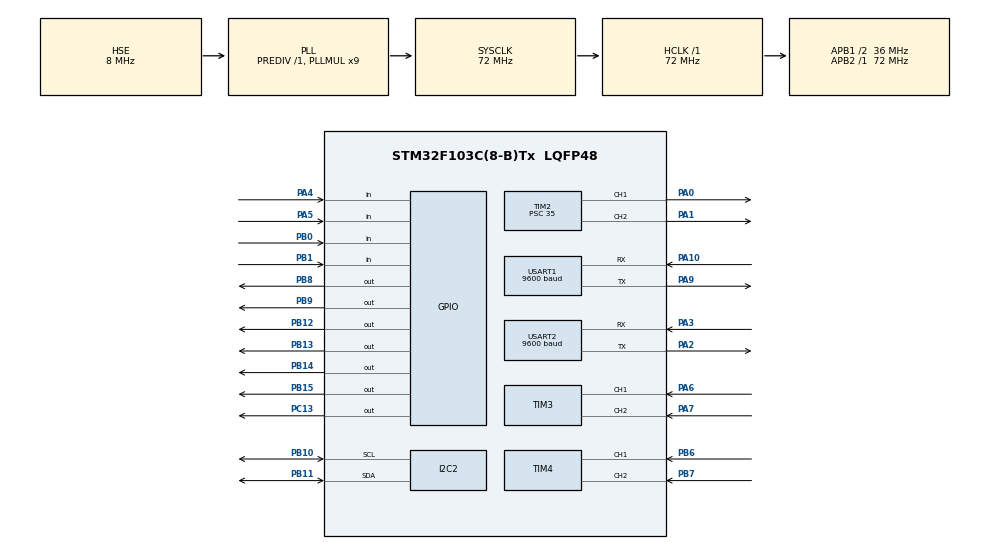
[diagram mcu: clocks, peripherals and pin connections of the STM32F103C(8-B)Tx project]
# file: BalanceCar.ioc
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Dma.I2C2_RX.0.Direction=DMA_PERIPH_TO_MEMORY
Dma.I2C2_RX.0.Instance=DMA1_Channel5
Dma.I2C2_RX.0.MemDataAlignment=DMA_MDATAALIGN_BYTE
Dma.I2C2_RX.0.MemInc=DMA_MINC_ENABLE
Dma.I2C2_RX.0.Mode=DMA_NORMAL
Dma.I2C2_RX.0.PeriphDataAlignment=DMA_PDATAALIGN_BYTE
Dma.I2C2_RX.0.PeriphInc=DMA_PINC_DISABLE
Dma.I2C2_RX.0.Priority=DMA_PRIORITY_LOW
Dma.Request0=I2C2_RX
I2C2.I2C_Mode=I2C_Fast
Mcu.Family=STM32F1
Mcu.Name=STM32F103C(8-B)Tx
Mcu.Package=LQFP48
NVIC.DMA1_Channel5_IRQn=true\:0\:0\:false\:false\:true\:false\:true\:true
NVIC.I2C2_ER_IRQn=true\:0\:0\:false\:false\:true\:true\:true\:true
NVIC.I2C2_EV_IRQn=true\:0\:0\:false\:false\:true\:true\:true\:true
NVIC.PriorityGroup=NVIC_PRIORITYGROUP_4
NVIC.TIM1_UP_IRQn=true\:1\:0\:true\:false\:true\:true\:true\:true
NVIC.USART1_IRQn=true\:3\:0\:true\:false\:true\:true\:true\:true
NVIC.USART2_IRQn=true\:3\:0\:true\:false\:true\:true\:true\:true
PA0-WKUP.Signal=S_TIM2_CH1_ETR
PA1.Signal=S_TIM2_CH2
PA10.Mode=Asynchronous
PA10.Signal=USART1_RX
PA2.Mode=Asynchronous
PA2.Signal=USART2_TX
PA3.Mode=Asynchronous
PA3.Signal=USART2_RX
PA4.GPIO_PuPd=GPIO_PULLUP
PA4.Signal=GPIO_Input
PA5.GPIO_PuPd=GPIO_PULLUP
PA5.Signal=GPIO_Input
PA6.Signal=S_TIM3_CH1
PA7.Signal=S_TIM3_CH2
PA9.Mode=Asynchronous
PA9.Signal=USART1_TX
PB0.GPIO_PuPd=GPIO_PULLUP
PB0.Signal=GPIO_Input
PB1.GPIO_PuPd=GPIO_PULLUP
PB1.Signal=GPIO_Input
PB10.Mode=I2C
PB10.Signal=I2C2_SCL
PB11.Mode=I2C
PB11.Signal=I2C2_SDA
PB12.GPIO_Speed=GPIO_SPEED_FREQ_HIGH
PB12.Signal=GPIO_Output
PB13.GPIO_Speed=GPIO_SPEED_FREQ_HIGH
PB13.Signal=GPIO_Output
PB14.GPIO_Speed=GPIO_SPEED_FREQ_HIGH
PB14.Signal=GPIO_Output
PB15.GPIO_Speed=GPIO_SPEED_FREQ_HIGH
PB15.Signal=GPIO_Output
PB6.Signal=S_TIM4_CH1
PB7.Signal=S_TIM4_CH2
PB8.GPIO_ModeDefaultOutputPP=GPIO_MODE_OUTPUT_OD
PB8.GPIO_PuPd=GPIO_NOPULL
PB8.GPIO_Speed=GPIO_SPEED_FREQ_HIGH
PB8.Signal=GPIO_Output
PB9.GPIO_ModeDefaultOutputPP=GPIO_MODE_OUTPUT_OD
PB9.GPIO_PuPd=GPIO_NOPULL
PB9.GPIO_Speed=GPIO_SPEED_FREQ_HIGH
PB9.Signal=GPIO_Output
PC13-TAMPER-RTC.GPIO_Speed=GPIO_SPEED_FREQ_HIGH
PC13-TAMPER-RTC.Signal=GPIO_Output
PD0-OSC_IN.Mode=HSE-External-Oscillator
PD0-OSC_IN.Signal=RCC_OSC_IN
PD1-OSC_OUT.Mode=HSE-External-Oscillator
PD1-OSC_OUT.Signal=RCC_OSC_OUT
ProjectManager.HeapSize=0x200
ProjectManager.StackSize=0x400
ProjectManager.TargetToolchain=CMake
RCC.AHBFreq_Value=72000000
RCC.APB1CLKDivider=RCC_HCLK_DIV2
RCC.APB1Freq_Value=36000000
RCC.APB1TimFreq_Value=72000000
RCC.APB2Freq_Value=72000000
RCC.APB2TimFreq_Value=72000000
RCC.HCLKFreq_Value=72000000
RCC.PLLMUL=RCC_PLL_MUL9
RCC.PLLSourceVirtual=RCC_PLLSOURCE_HSE
RCC.SYSCLKFreq_VALUE=72000000
RCC.SYSCLKSource=RCC_SYSCLKSOURCE_PLLCLK
RCC.USBFreq_Value=72000000
SH.S_TIM2_CH1_ETR.0=TIM2_CH1,PWM Generation1 CH1
SH.S_TIM2_CH2.0=TIM2_CH2,PWM Generation2 CH2
SH.S_TIM3_CH1.0=TIM3_CH1,Encoder_Interface
SH.S_TIM3_CH2.0=TIM3_CH2,Encoder_Interface
SH.S_TIM4_CH1.0=TIM4_CH1,Encoder_Interface
SH.S_TIM4_CH2.0=TIM4_CH2,Encoder_Interface
TIM1.AutoReloadPreload=TIM_AUTORELOAD_PRELOAD_ENABLE
TIM1.Period=999
TIM1.Prescaler=71
TIM2.Channel-PWM\ Generation1\ CH1=TIM_CHANNEL_1
TIM2.Channel-PWM\ Generation2\ CH2=TIM_CHANNEL_2
TIM2.Period=99
TIM2.Prescaler=35
TIM3.EncoderMode=TIM_ENCODERMODE_TI12
TIM3.IC1Filter=15
TIM3.IC2Filter=15
TIM4.EncoderMode=TIM_ENCODERMODE_TI12
TIM4.IC1Filter=15
TIM4.IC2Filter=15
TIM4.IC2Polarity=TIM_ICPOLARITY_FALLING
USART1.BaudRate=9600
USART1.VirtualMode=VM_ASYNC
USART2.BaudRate=9600
USART2.VirtualMode=VM_ASYNC
VP_SYS_VS_ND.Mode=No_Debug
VP_TIM1_VS_ClockSourceINT.Mode=Internal
VP_TIM2_VS_ClockSourceINT.Mode=Internal
board=custom

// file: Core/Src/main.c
/* USER CODE BEGIN Header */
/**
  ******************************************************************************
  * @file           : main.c
  * @brief          : Main program body
  ******************************************************************************
  * @attention
  *
  * Copyright (c) 2026 STMicroelectronics.
  * All rights reserved.
  *
  * This software is licensed under terms that can be found in the LICENSE file
  * in the root directory of this software component.
  * If no LICENSE file comes with this software, it is provided AS-IS.
  *
  ******************************************************************************
  */
/* USER CODE END Header */
#include "main.h"

/* USER CODE BEGIN Includes */
#include "HardWare/LED.h"
#include "HardWare/OLED.h"
#include "HardWare/OLED_Data.h"
#include "HardWare/Key.h"
#include "HardWare/MPU6050.h"
#include "HardWare/Encoder.h"
#include "HardWare/Motor.h"
#include "HardWare/Serial.h"
#include "HardWare/BlueSerial.h"
#include "Algorithm/ComplementaryFilter.h"
#include "Algorithm/PID.h"
#include "string.h"
#include <stdlib.h>

extern uint8_t serial_rx_data;
extern uint8_t serial_rx_flag;
extern char BlueSerial_RxPacket[100];
extern uint8_t BlueSerial_RxFlag;
extern uint8_t blue_rx_byte;
/* USER CODE END Includes */

I2C_HandleTypeDef hi2c2;
DMA_HandleTypeDef hdma_i2c2_rx;

TIM_HandleTypeDef htim1;
TIM_HandleTypeDef htim2;
TIM_HandleTypeDef htim3;
TIM_HandleTypeDef htim4;

UART_HandleTypeDef huart1;
UART_HandleTypeDef huart2;

/* USER CODE BEGIN PV */
int16_t ax, ay, az, gx, gy, gz;
uint8_t timer_error_flag;
uint16_t timer_count;
int8_t PWML, PWMR;

float SpeedL, SpeedR;

uint16_t Count;

float angle_acc;
float angle_gyro;
float angle;
float alpha = 0.99;

uint8_t run_flag = 0;

int16_t left_pwm, right_pwm;
float left_speed, right_speed;
int16_t ave_pwm, diff_pwm;
float ave_speed, diff_speed;

float position = 0;  // 单位：轮子转数或cm
float hold_position = 0;
uint8_t position_hold = 0;

typedef enum { MODE_CONTROL = 0, MODE_HOLD } CarMode_t;
CarMode_t car_mode = MODE_HOLD;
float smooth_target = 0.0f;

PID_t angle_pid ={
  .kp_ = 4,
  .ki_ = 0.1,
  .kd_ = 4,

  .output_max_ =  100,
  .output_min_ = -100,

  .out_offset_ = 3
};

PID_t speed_pid ={
  .kp_ = 2.5,
  .ki_ = 0.05,
  .kd_ = 0,

  .output_max_ =  10,
  .output_min_ = -10,
};

PID_t turn_pid ={
  .kp_ = 4,
  .ki_ = 3,
  .kd_ = 0,

  .output_max_ =  50,
  .output_min_ = -50,
};

PID_t position_pid = {
  .kp_ = 13,
  .ki_ = 0.4,
  .kd_ = 80,
  .output_max_ =  20,
  .output_min_ = -20,
};

/* USER CODE END PV */

void SystemClock_Config(void);
static void MX_GPIO_Init(void);
static void MX_DMA_Init(void);
static void MX_TIM1_Init(void);
static void MX_I2C2_Init(void);
static void MX_TIM3_Init(void);
static void MX_TIM4_Init(void);
static void MX_TIM2_Init(void);
static void MX_USART1_UART_Init(void);
static void MX_USART2_UART_Init(void);

int main(void)
{

  /* MCU Configuration--------------------------------------------------------*/

  /* Reset of all peripherals, Initializes the Flash interface and the Systick. */
  HAL_Init();

  /* Configure the system clock */
  SystemClock_Config();

  /* Initialize all configured peripherals */
  MX_GPIO_Init();
  MX_DMA_Init();
  MX_TIM1_Init();
  MX_I2C2_Init();
  MX_TIM3_Init();
  MX_TIM4_Init();
  MX_TIM2_Init();
  MX_USART1_UART_Init();
  MX_USART2_UART_Init();
  /* USER CODE BEGIN 2 */
  HAL_TIM_PWM_Start(&htim2, TIM_CHANNEL_1);
  HAL_TIM_PWM_Start(&htim2, TIM_CHANNEL_2);
  encoder_init();
  MPU6050_init();
  OLED_Init();
  HAL_TIM_Base_Start_IT(&htim1);
  HAL_UART_Receive_IT(&huart1, &serial_rx_data, 1);
  HAL_UART_Receive_IT(&huart2, &blue_rx_byte, 1);

  uint8_t KeyNum, Num;

  /* USER CODE END 2 */

  /* Infinite loop */
  /* USER CODE BEGIN WHILE */
  blue_serial_send_str("hello");
  blue_serial_printf("world");
  led_off();

  while (1) {
    /* USER CODE END WHILE */

    KeyNum = key_get_num();

    if (KeyNum == 1)
    {
      if (run_flag == 0)
      {
        PID_init(&angle_pid);
        PID_init(&speed_pid);
        PID_init(&turn_pid);
        PID_init(&position_pid);
        run_flag = 1;
        led_on();
      }
      else
      {
        run_flag = 0;
        led_off();
      }
    }

    if (KeyNum == 2)
    {
      if (car_mode == MODE_CONTROL)
      {
        car_mode = MODE_HOLD;
        hold_position = position;
        position_pid.target_ = position;
        position_pid.i_output_ = 0;
      }
      else
      {
        car_mode = MODE_CONTROL;
        speed_pid.i_output_ = 0;
      }
    }

    int pkp_int  = (int)position_pid.kp_;
    int pkp_frac = (int)((position_pid.kp_ - pkp_int) * 100);
    int pki_int  = (int)position_pid.ki_;
    int pki_frac = (int)((position_pid.ki_ - pki_int) * 100);
    int pkd_int  = (int)position_pid.kd_;
    int pkd_frac = (int)((position_pid.kd_ - pkd_int) * 100);
    int pos_int  = (int)position;
    int pos_frac = (int)((position - pos_int) * 100);
    if (pos_frac < 0) pos_frac = -pos_frac;
    int hpos_int  = (int)hold_position;
    int hpos_frac = (int)((hold_position - hpos_int) * 100);
    if (hpos_frac < 0) hpos_frac = -hpos_frac;

    int a_int  = (int)angle;
    int a_frac = (int)((angle - a_int) * 100);
    if (a_frac < 0) a_frac = -a_frac;

    OLED_Clear();
    OLED_Printf(0, 0,  OLED_6X8, "  Pos PID");
    OLED_Printf(0, 8,  OLED_6X8, "P:%d.%02d", pkp_int, pkp_frac);
    OLED_Printf(0, 16, OLED_6X8, "I:%d.%02d", pki_int, pki_frac);
    OLED_Printf(0, 24, OLED_6X8, "D:%d.%02d", pkd_int, pkd_frac);
    OLED_Printf(0, 32, OLED_6X8, "Pos:%+d.%02d", pos_int, pos_frac);
    OLED_Printf(0, 40, OLED_6X8, "Hld:%+d.%02d", hpos_int, hpos_frac);
    OLED_Printf(0, 48, OLED_6X8, car_mode == MODE_CONTROL ? "MODE:CTL " : "MODE:HOLD");
    OLED_Printf(0, 56, OLED_6X8, "A:%+d.%02d", a_int, a_frac);
    OLED_Update();

    if (BlueSerial_RxFlag == 1)
    {
      char *tag = strtok(BlueSerial_RxPacket, ",");
      if (strcmp(tag, "joystick") == 0)
      {
        int8_t lh = atoi(strtok(NULL, ","));
        int8_t lv = atoi(strtok(NULL, ","));
        int8_t rh = atoi(strtok(NULL, ","));
        int8_t rv = atoi(strtok(NULL, ","));

        float lv_f = lv / 25.0f;
        float rh_f = rh / 25.0f;

        turn_pid.target_  = rh / 25.0f;

        // 低通滤波，松开摇杆时平滑过渡到0喵
        speed_pid.target_ = speed_pid.target_ * 0.2f + lv_f * 0.8f;
      }
      else if (strcmp(tag, "slider") == 0)
      {
        char *name  = strtok(NULL, ",");
        char *value = strtok(NULL, ",");
        if      (strcmp(name, "PosKp") == 0) position_pid.kp_ = atof(value);
        else if (strcmp(name, "PosKi") == 0) position_pid.ki_ = atof(value);
        else if (strcmp(name, "PosKd") == 0) position_pid.kd_ = atof(value);
      }
      BlueSerial_RxFlag = 0;
    }

  }
}

void SystemClock_Config(void)
{
  RCC_OscInitTypeDef RCC_OscInitStruct = {0};
  RCC_ClkInitTypeDef RCC_ClkInitStruct = {0};

  /** Initializes the RCC Oscillators according to the specified parameters
  * in the RCC_OscInitTypeDef structure.
  */
  RCC_OscInitStruct.OscillatorType = RCC_OSCILLATORTYPE_HSE;
  RCC_OscInitStruct.HSEState = RCC_HSE_ON;
  RCC_OscInitStruct.HSEPredivValue = RCC_HSE_PREDIV_DIV1;
  RCC_OscInitStruct.HSIState = RCC_HSI_ON;
  RCC_OscInitStruct.PLL.PLLState = RCC_PLL_ON;
  RCC_OscInitStruct.PLL.PLLSource = RCC_PLLSOURCE_HSE;
  RCC_OscInitStruct.PLL.PLLMUL = RCC_PLL_MUL9;
  if (HAL_RCC_OscConfig(&RCC_OscInitStruct) != HAL_OK)
  {
    Error_Handler();
  }

  /** Initializes the CPU, AHB and APB buses clocks
  */
  RCC_ClkInitStruct.ClockType = RCC_CLOCKTYPE_HCLK|RCC_CLOCKTYPE_SYSCLK
                              |RCC_CLOCKTYPE_PCLK1|RCC_CLOCKTYPE_PCLK2;
  RCC_ClkInitStruct.SYSCLKSource = RCC_SYSCLKSOURCE_PLLCLK;
  RCC_ClkInitStruct.AHBCLKDivider = RCC_SYSCLK_DIV1;
  RCC_ClkInitStruct.APB1CLKDivider = RCC_HCLK_DIV2;
  RCC_ClkInitStruct.APB2CLKDivider = RCC_HCLK_DIV1;

  if (HAL_RCC_ClockConfig(&RCC_ClkInitStruct, FLASH_LATENCY_2) != HAL_OK)
  {
    Error_Handler();
  }
}

static void MX_I2C2_Init(void)
{

  hi2c2.Instance = I2C2;
  hi2c2.Init.ClockSpeed = 400000;
  hi2c2.Init.DutyCycle = I2C_DUTYCYCLE_2;
  hi2c2.Init.OwnAddress1 = 0;
  hi2c2.Init.AddressingMode = I2C_ADDRESSINGMODE_7BIT;
  hi2c2.Init.DualAddressMode = I2C_DUALADDRESS_DISABLE;
  hi2c2.Init.OwnAddress2 = 0;
  hi2c2.Init.GeneralCallMode = I2C_GENERALCALL_DISABLE;
  hi2c2.Init.NoStretchMode = I2C_NOSTRETCH_DISABLE;
  if (HAL_I2C_Init(&hi2c2) != HAL_OK)
  {
    Error_Handler();
  }

}

static void MX_TIM1_Init(void)
{

  TIM_ClockConfigTypeDef sClockSourceConfig = {0};
  TIM_MasterConfigTypeDef sMasterConfig = {0};

  htim1.Instance = TIM1;
  htim1.Init.Prescaler = 71;
  htim1.Init.CounterMode = TIM_COUNTERMODE_UP;
  htim1.Init.Period = 999;
  htim1.Init.ClockDivision = TIM_CLOCKDIVISION_DIV1;
  htim1.Init.RepetitionCounter = 0;
  htim1.Init.AutoReloadPreload = TIM_AUTORELOAD_PRELOAD_ENABLE;
  if (HAL_TIM_Base_Init(&htim1) != HAL_OK)
  {
    Error_Handler();
  }
  sClockSourceConfig.ClockSource = TIM_CLOCKSOURCE_INTERNAL;
  if (HAL_TIM_ConfigClockSource(&htim1, &sClockSourceConfig) != HAL_OK)
  {
    Error_Handler();
  }
  sMasterConfig.MasterOutputTrigger = TIM_TRGO_RESET;
  sMasterConfig.MasterSlaveMode = TIM_MASTERSLAVEMODE_DISABLE;
  if (HAL_TIMEx_MasterConfigSynchronization(&htim1, &sMasterConfig) != HAL_OK)
  {
    Error_Handler();
  }

}

static void MX_TIM2_Init(void)
{

  TIM_ClockConfigTypeDef sClockSourceConfig = {0};
  TIM_MasterConfigTypeDef sMasterConfig = {0};
  TIM_OC_InitTypeDef sConfigOC = {0};

  htim2.Instance = TIM2;
  htim2.Init.Prescaler = 35;
  htim2.Init.CounterMode = TIM_COUNTERMODE_UP;
  htim2.Init.Period = 99;
  htim2.Init.ClockDivision = TIM_CLOCKDIVISION_DIV1;
  htim2.Init.AutoReloadPreload = TIM_AUTORELOAD_PRELOAD_DISABLE;
  if (HAL_TIM_Base_Init(&htim2) != HAL_OK)
  {
    Error_Handler();
  }
  sClockSourceConfig.ClockSource = TIM_CLOCKSOURCE_INTERNAL;
  if (HAL_TIM_ConfigClockSource(&htim2, &sClockSourceConfig) != HAL_OK)
  {
    Error_Handler();
  }
  if (HAL_TIM_PWM_Init(&htim2) != HAL_OK)
  {
    Error_Handler();
  }
  sMasterConfig.MasterOutputTrigger = TIM_TRGO_RESET;
  sMasterConfig.MasterSlaveMode = TIM_MASTERSLAVEMODE_DISABLE;
  if (HAL_TIMEx_MasterConfigSynchronization(&htim2, &sMasterConfig) != HAL_OK)
  {
    Error_Handler();
  }
  sConfigOC.OCMode = TIM_OCMODE_PWM1;
  sConfigOC.Pulse = 0;
  sConfigOC.OCPolarity = TIM_OCPOLARITY_HIGH;
  sConfigOC.OCFastMode = TIM_OCFAST_DISABLE;
  if (HAL_TIM_PWM_ConfigChannel(&htim2, &sConfigOC, TIM_CHANNEL_1) != HAL_OK)
  {
    Error_Handler();
  }
  if (HAL_TIM_PWM_ConfigChannel(&htim2, &sConfigOC, TIM_CHANNEL_2) != HAL_OK)
  {
    Error_Handler();
  }
  HAL_TIM_MspPostInit(&htim2);

}

static void MX_TIM3_Init(void)
{

  TIM_Encoder_InitTypeDef sConfig = {0};
  TIM_MasterConfigTypeDef sMasterConfig = {0};

  htim3.Instance = TIM3;
  htim3.Init.Prescaler = 0;
  htim3.Init.CounterMode = TIM_COUNTERMODE_UP;
  htim3.Init.Period = 65535;
  htim3.Init.ClockDivision = TIM_CLOCKDIVISION_DIV1;
  htim3.Init.AutoReloadPreload = TIM_AUTORELOAD_PRELOAD_DISABLE;
  sConfig.EncoderMode = TIM_ENCODERMODE_TI12;
  sConfig.IC1Polarity = TIM_ICPOLARITY_RISING;
  sConfig.IC1Selection = TIM_ICSELECTION_DIRECTTI;
  sConfig.IC1Prescaler = TIM_ICPSC_DIV1;
  sConfig.IC1Filter = 15;
  sConfig.IC2Polarity = TIM_ICPOLARITY_RISING;
  sConfig.IC2Selection = TIM_ICSELECTION_DIRECTTI;
  sConfig.IC2Prescaler = TIM_ICPSC_DIV1;
  sConfig.IC2Filter = 15;
  if (HAL_TIM_Encoder_Init(&htim3, &sConfig) != HAL_OK)
  {
    Error_Handler();
  }
  sMasterConfig.MasterOutputTrigger = TIM_TRGO_RESET;
  sMasterConfig.MasterSlaveMode = TIM_MASTERSLAVEMODE_DISABLE;
  if (HAL_TIMEx_MasterConfigSynchronization(&htim3, &sMasterConfig) != HAL_OK)
  {
    Error_Handler();
  }

}

static void MX_TIM4_Init(void)
{

  TIM_Encoder_InitTypeDef sConfig = {0};
  TIM_MasterConfigTypeDef sMasterConfig = {0};

  htim4.Instance = TIM4;
  htim4.Init.Prescaler = 0;
  htim4.Init.CounterMode = TIM_COUNTERMODE_UP;
  htim4.Init.Period = 65535;
  htim4.Init.ClockDivision = TIM_CLOCKDIVISION_DIV1;
  htim4.Init.AutoReloadPreload = TIM_AUTORELOAD_PRELOAD_DISABLE;
  sConfig.EncoderMode = TIM_ENCODERMODE_TI12;
  sConfig.IC1Polarity = TIM_ICPOLARITY_RISING;
  sConfig.IC1Selection = TIM_ICSELECTION_DIRECTTI;
  sConfig.IC1Prescaler = TIM_ICPSC_DIV1;
  sConfig.IC1Filter = 15;
  sConfig.IC2Polarity = TIM_ICPOLARITY_FALLING;
  sConfig.IC2Selection = TIM_ICSELECTION_DIRECTTI;
  sConfig.IC2Prescaler = TIM_ICPSC_DIV1;
  sConfig.IC2Filter = 15;
  if (HAL_TIM_Encoder_Init(&htim4, &sConfig) != HAL_OK)
  {
    Error_Handler();
  }
  sMasterConfig.MasterOutputTrigger = TIM_TRGO_RESET;
  sMasterConfig.MasterSlaveMode = TIM_MASTERSLAVEMODE_DISABLE;
  if (HAL_TIMEx_MasterConfigSynchronization(&htim4, &sMasterConfig) != HAL_OK)
  {
    Error_Handler();
  }

}

static void MX_USART1_UART_Init(void)
{

  huart1.Instance = USART1;
  huart1.Init.BaudRate = 9600;
  huart1.Init.WordLength = UART_WORDLENGTH_8B;
  huart1.Init.StopBits = UART_STOPBITS_1;
  huart1.Init.Parity = UART_PARITY_NONE;
  huart1.Init.Mode = UART_MODE_TX_RX;
  huart1.Init.HwFlowCtl = UART_HWCONTROL_NONE;
  huart1.Init.OverSampling = UART_OVERSAMPLING_16;
  if (HAL_UART_Init(&huart1) != HAL_OK)
  {
    Error_Handler();
  }

}

static void MX_USART2_UART_Init(void)
{

  huart2.Instance = USART2;
  huart2.Init.BaudRate = 9600;
  huart2.Init.WordLength = UART_WORDLENGTH_8B;
  huart2.Init.StopBits = UART_STOPBITS_1;
  huart2.Init.Parity = UART_PARITY_NONE;
  huart2.Init.Mode = UART_MODE_TX_RX;
  huart2.Init.HwFlowCtl = UART_HWCONTROL_NONE;
  huart2.Init.OverSampling = UART_OVERSAMPLING_16;
  if (HAL_UART_Init(&huart2) != HAL_OK)
  {
    Error_Handler();
  }

}

static void MX_DMA_Init(void)
{

  /* DMA controller clock enable */
  __HAL_RCC_DMA1_CLK_ENABLE();

  /* DMA interrupt init */
  /* DMA1_Channel5_IRQn interrupt configuration */
  HAL_NVIC_SetPriority(DMA1_Channel5_IRQn, 0, 0);
  HAL_NVIC_EnableIRQ(DMA1_Channel5_IRQn);

}

static void MX_GPIO_Init(void)
{
  GPIO_InitTypeDef GPIO_InitStruct = {0};

  /* GPIO Ports Clock Enable */
  __HAL_RCC_GPIOC_CLK_ENABLE();
  __HAL_RCC_GPIOD_CLK_ENABLE();
  __HAL_RCC_GPIOA_CLK_ENABLE();
  __HAL_RCC_GPIOB_CLK_ENABLE();

  /*Configure GPIO pin Output Level */
  HAL_GPIO_WritePin(GPIOC, GPIO_PIN_13, GPIO_PIN_RESET);

  /*Configure GPIO pin Output Level */
  HAL_GPIO_WritePin(GPIOB, GPIO_PIN_12|GPIO_PIN_13|GPIO_PIN_14|GPIO_PIN_15
                          |GPIO_PIN_8|GPIO_PIN_9, GPIO_PIN_RESET);

  /*Configure GPIO pin : PC13 */
  GPIO_InitStruct.Pin = GPIO_PIN_13;
  GPIO_InitStruct.Mode = GPIO_MODE_OUTPUT_PP;
  GPIO_InitStruct.Pull = GPIO_NOPULL;
  GPIO_InitStruct.Speed = GPIO_SPEED_FREQ_HIGH;
  HAL_GPIO_Init(GPIOC, &GPIO_InitStruct);

  /*Configure GPIO pins : PA4 PA5 */
  GPIO_InitStruct.Pin = GPIO_PIN_4|GPIO_PIN_5;
  GPIO_InitStruct.Mode = GPIO_MODE_INPUT;
  GPIO_InitStruct.Pull = GPIO_PULLUP;
  HAL_GPIO_Init(GPIOA, &GPIO_InitStruct);

  /*Configure GPIO pins : PB0 PB1 */
  GPIO_InitStruct.Pin = GPIO_PIN_0|GPIO_PIN_1;
  GPIO_InitStruct.Mode = GPIO_MODE_INPUT;
  GPIO_InitStruct.Pull = GPIO_PULLUP;
  HAL_GPIO_Init(GPIOB, &GPIO_InitStruct);

  /*Configure GPIO pins : PB12 PB13 PB14 PB15 */
  GPIO_InitStruct.Pin = GPIO_PIN_12|GPIO_PIN_13|GPIO_PIN_14|GPIO_PIN_15;
  GPIO_InitStruct.Mode = GPIO_MODE_OUTPUT_PP;
  GPIO_InitStruct.Pull = GPIO_NOPULL;
  GPIO_InitStruct.Speed = GPIO_SPEED_FREQ_HIGH;
  HAL_GPIO_Init(GPIOB, &GPIO_InitStruct);

  /*Configure GPIO pins : PB8 PB9 */
  GPIO_InitStruct.Pin = GPIO_PIN_8|GPIO_PIN_9;
  GPIO_InitStruct.Mode = GPIO_MODE_OUTPUT_OD;
  GPIO_InitStruct.Pull = GPIO_NOPULL;
  GPIO_InitStruct.Speed = GPIO_SPEED_FREQ_HIGH;
  HAL_GPIO_Init(GPIOB, &GPIO_InitStruct);

}

/* USER CODE BEGIN 4 */
void HAL_TIM_PeriodElapsedCallback(TIM_HandleTypeDef *htim)
{
  static uint16_t pid_count   = 0;
  static uint16_t encoder_count = 0;

  if (htim->Instance == TIM1)
  {
    key_tick();

    if (angle > 50 || angle < -50)
    {
      run_flag = 0;
    }

    Count++;
    pid_count++;
    encoder_count++;

    if (pid_count >= 10)
    {
      pid_count = 0;

      MPU6050_getdata( &ax,
                 &ay,
                 &az,
                &gx,
                &gy,
                &gz);

      gy -= 16;

      angle_acc  = -angle_acc_compute(ax, ay, az);
      angle_gyro = angle_gyro_compute(angle_gyro, gy, 0.01, angle);
      angle = complementary_filter(angle_acc, angle_gyro, alpha);

      if (run_flag)
      {
        angle_pid.actual_ = angle;
        PID_Update(&angle_pid);
        ave_pwm = -angle_pid.pid_output_;

        left_pwm  = ave_pwm + diff_pwm / 2;
        right_pwm = ave_pwm - diff_pwm / 2;

        if (left_pwm   > 100)  left_pwm  = 100; else if (left_pwm  < -100) left_pwm  = -100;
        if (right_pwm  > 100 ) right_pwm = 100; else if (right_pwm < -100) right_pwm = -100;

        motor_set_pwm(1, left_pwm);
        motor_set_pwm(2, right_pwm);
      }
      else
      {
        motor_set_pwm(1,0);
        motor_set_pwm(2,0);
      }
    }
    if (encoder_count >= 50)
    {
      encoder_count = 0;

      left_speed  = encoder_get(1) / 44.0 / 0.05 / 9.27666;
      right_speed = encoder_get(2) / 44.0 / 0.05 / 9.27666;

      ave_speed  = (left_speed + right_speed) / 2.0;
      diff_speed = left_speed - right_speed;

      position += ave_speed * 0.05f;

      if (run_flag)
      {
        if (car_mode == MODE_CONTROL)
        {
          speed_pid.actual_ = ave_speed;
          PID_Update(&speed_pid);
          smooth_target = speed_pid.pid_output_;  // 直接赋值喵
        }
        else
        {
          position_pid.actual_ = position;
          PID_Update(&position_pid);
          smooth_target =  smooth_target * 0.5f + position_pid.pid_output_ * 0.5f;
        }
        angle_pid.target_ = smooth_target;

        turn_pid.actual_ = diff_speed;
        PID_Update(&turn_pid);
        diff_pwm = turn_pid.pid_output_;
      }
      else
      {
        motor_set_pwm(1, 0);
        motor_set_pwm(2, 0);
        angle_pid.target_      = 0;
        angle_pid.i_output_    = 0;
        speed_pid.i_output_    = 0;
        turn_pid.i_output_     = 0;
        position_pid.i_output_ = 0;
        smooth_target          = 0;
        car_mode               = MODE_CONTROL;
      }
    }
  }
}

void HAL_UART_RxCpltCallback(UART_HandleTypeDef *huart)
{

  static uint8_t rx_state = 0;
  static uint8_t p_rx_packet = 0;

  if (huart->Instance == USART1)
  {
    serial_rx_flag = 1;
    HAL_UART_Receive_IT(&huart1, &serial_rx_data, 1);
  }

  else if (huart->Instance == USART2)
  {
    if (rx_state == 0)
    {
      if (blue_rx_byte == '[' && BlueSerial_RxFlag == 0)
      {
        rx_state = 1;
        p_rx_packet = 0;
      }
    }
    else if (rx_state == 1)
    {
      if (blue_rx_byte == ']')
      {
        rx_state = 0;
        BlueSerial_RxPacket[p_rx_packet] = '\0';
        BlueSerial_RxFlag = 1;
      }
      else
      {
        BlueSerial_RxPacket[p_rx_packet] = blue_rx_byte;
        p_rx_packet++;
      }
    }
    HAL_UART_Receive_IT(&huart2, &blue_rx_byte, 1);
  }
}
/* USER CODE END 4 */

void Error_Handler(void)
{
  __disable_irq();
  while (1)
  {
  }
}
